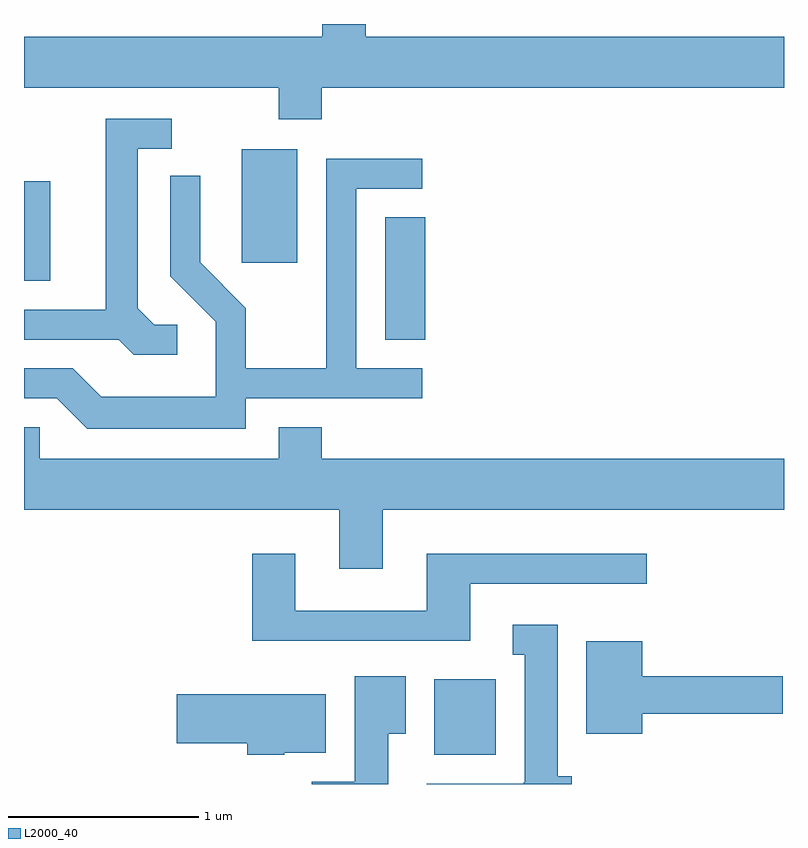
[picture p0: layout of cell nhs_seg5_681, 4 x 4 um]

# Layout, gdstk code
import gdstk
lib = gdstk.Library(unit=1e-6, precision=1e-09)
def R(c, l, rs):  # rectangles x0, y0, x1, y1
    for r in rs: c.add(gdstk.rectangle(r[:2], r[2:], *l))
def P(c, l, *ps):  # polygons
    for p in ps: c.add(gdstk.Polygon(p, *l))
L2000_40 = (2000, 40)

nhs_seg5_681 = lib.new_cell('nhs_seg5_681')
R(nhs_seg5_681, L2000_40, [(207.771,1402.226,208.094,1402.624), (207.511,1404.411,207.724,1405.054), (205.611,1404.721,205.749,1405.244), (206.756,1404.816,207.049,1405.414)])
P(nhs_seg5_681, L2000_40, [(207.179,1405.736),(209.611,1405.736),(209.611,1406.004),(207.409,1406.004),(207.409,1406.072),(207.181,1406.072),(207.181,1406.004),(205.611,1406.004),(205.611,1405.736),(206.951,1405.736),(206.951,1405.571),(207.179,1405.571)],
  [(206.418,1404.489),(206.297,1404.489),(206.209,1404.577),(206.209,1405.416),(206.388,1405.416),(206.388,1405.574),(206.041,1405.574),(206.041,1404.569),(205.611,1404.569),(205.611,1404.411),(206.109,1404.411),(206.189,1404.331),(206.418,1404.331)],
  [(206.779,1404.101),(207.708,1404.101),(207.708,1404.259),(207.359,1404.259),(207.359,1405.206),(207.708,1405.206),(207.708,1405.364),(207.201,1405.364),(207.201,1404.259),(206.779,1404.259),(206.779,1404.577),(206.539,1404.817),(206.539,1405.273),(206.381,1405.273),(206.381,1404.744),(206.621,1404.504),(206.621,1404.109),(206.017,1404.109),(205.867,1404.259),(205.611,1404.259),(205.611,1404.101),(205.784,1404.101),(205.944,1403.941),(206.779,1403.941)],
  [(207.499,1403.516),(209.611,1403.516),(209.611,1403.784),(207.179,1403.784),(207.179,1403.949),(206.951,1403.949),(206.951,1403.784),(205.694,1403.784),(205.694,1403.949),(205.611,1403.949),(205.611,1403.516),(207.271,1403.516),(207.271,1403.206),(207.499,1403.206)],
  [(207.959,1403.126),(208.888,1403.126),(208.888,1403.284),(207.731,1403.284),(207.731,1402.984),(207.039,1402.984),(207.039,1403.284),(206.811,1403.284),(206.811,1402.826),(207.959,1402.826)],
  [(208.494,1402.114),(208.419,1402.114),(208.419,1402.909),(208.183,1402.909),(208.183,1402.751),(208.246,1402.751),(208.246,1402.08),(208.24,1402.08),(208.24,1402.074),(207.731,1402.074),(207.731,1402.072),(208.494,1402.072)],
  [(208.864,1402.441),(209.604,1402.441),(209.604,1402.639),(208.864,1402.639),(208.864,1402.824),(208.571,1402.824),(208.571,1402.336),(208.864,1402.336)],
  [(207.529,1402.336),(207.619,1402.336),(207.619,1402.639),(207.351,1402.639),(207.351,1402.084),(207.126,1402.084),(207.126,1402.072),(207.529,1402.072)],
  [(206.98,1402.236),(207.199,1402.236),(207.199,1402.544),(206.416,1402.544),(206.416,1402.286),(206.786,1402.286),(206.786,1402.226),(206.98,1402.226)])

lib.write_gds('nhs_seg5_681.gds')
